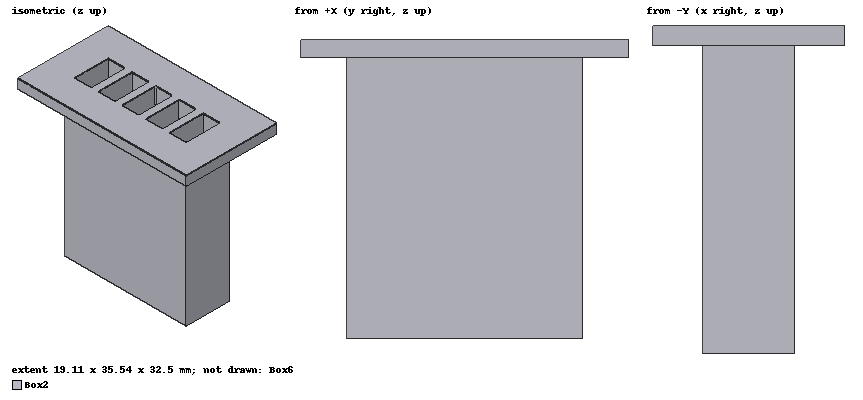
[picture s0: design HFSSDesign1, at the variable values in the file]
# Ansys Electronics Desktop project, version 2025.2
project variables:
  $a = 7.112mm
  $b = 3.556mm
  $l = 31.5mm
  $w = 1mm
  $d = 4.9965mm
  $m = 5mm
  $t = 2mm
  $pad = 5mm
  $f0 = 30GHz
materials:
  vacuum: permittivity=1
  pec: conductivity=1e+30

design HFSSDesign1 (HFSS, HFSS Modal Network, model units mm)
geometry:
  Box1 = box(corner=(-$a/2, -$b/2, 0mm), size=($a, $b, -$l))
  Box2 [pec] = box(corner=(-$a/2-$w, -$b/2-$w, 0mm), size=($a+2*$w, $b+2*$w, -$l))
  Box2.subtract(Box1)
  Rectangle1 = rectangle(corner=(-$a/2, -$b/2, -$l), x_size=$a, y_size=$b)
  Box3 = box(corner=(-$a/2-$w, -$b/2-$w, -$l-$w), size=($a+2*$w, $b+2*$w, $w))
  Box2_1..Box2_4 = Box2.duplicate_along_line(step=(0mm, $d, 0mm), total=5)
  Box3_1..Box3_4 = Box3.duplicate_along_line(step=(0mm, $d, 0mm), total=5)
  Rectangle1_1..Rectangle1_4 = Rectangle1.duplicate_along_line(step=(0mm, $d, 0mm), total=5)
  Box4 = box(corner=(-$a/2-$w-$m, -$b/2-$w-$m, 0mm), size=($a+2*$w+2*$m, 4*$d+$b+2*$w+2*$m, -$t))
  Box5 = box(corner=(-$a/2, -$b/2, 0mm), size=($a, $b, -$t))
  Box5_1..Box5_4 = Box5.duplicate_along_line(step=(0mm, $d, 0mm), total=5)
  Box4.subtract(Box5, Box5_1..Box5_4)
  Box2.unite(Box2_1..Box2_4, Box3, Box3_1..Box3_4, Box4)
  Box6 [vacuum] = box(corner=(-$a/2-$w-$m-$pad, -$b/2-$w-$m-$pad, -$l-$w-$pad), size=($a+2*$w+2*$m+2*$pad, 4*$d+$b+2*$w+2*$m+2*$pad, $l+$w+2*$pad))
  coordinate_system RelativeCS1 = origin=(0mm, 9.993mm, 0mm) x=(1mm, 0mm, 0mm) y=(0mm, 1mm, 0mm)
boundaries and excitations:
  Rad1: Radiation Objects=Box6
  Port1: Wave Port Faces=Rectangle1.face(at (0, 0, -31.5)) WavePortType=Modal NumModes=1 Modes{Mode1{IntLine{(0, -1.778, -31.5) -> (0, 1.778, -31.5)} CharImp=Zpi}}
  Port2: Wave Port Faces=Rectangle1_1.face WavePortType=Modal NumModes=1 Modes{Mode1{IntLine{(0, 3.2185, -31.5) -> (0, 6.7745, -31.5)} CharImp=Zpi}}
  Port3: Wave Port Faces=Rectangle1_2.face WavePortType=Modal NumModes=1 Modes{Mode1{IntLine{(0, 8.215, -31.5) -> (0, 11.771, -31.5)} CharImp=Zpi}}
  Port4: Wave Port Faces=Rectangle1_3.face WavePortType=Modal NumModes=1 Modes{Mode1{IntLine{(0, 13.2115, -31.5) -> (0, 16.7675, -31.5)} CharImp=Zpi}}
  Port5: Wave Port Faces=Rectangle1_4.face WavePortType=Modal NumModes=1 Modes{Mode1{IntLine{(0, 18.208, -31.5) -> (0, 21.764, -31.5)} CharImp=Zpi}}
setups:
  Setup1: HfssDriven Frequency=30GHz MaxDeltaS=0.02 MaximumPasses=10 MinimumPasses=1 MinimumConvergedPasses=1 PercentRefinement=30 BasisOrder=1 PortAccuracy=2 DrivenSolverType="Auto Select Direct/Iterative"
    sweep Sweep: 20GHz to 40GHz, 401 points; Type=Interpolating InterpTolerance=0.5 InterpMaxSolns=250 InterpUsePortImped=false PassivityErrorTolerance=0.0001
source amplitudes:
  Port1:1, Port5:1: 1W -180deg
  Port2:1: 1W 90deg
  Port3:1: 1W 0deg
  Port4:1: 1W -90deg
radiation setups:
  Infinite Sphere1: Infinite Sphere Theta=-180deg..180deg step 2deg Phi=-180deg..180deg step 2deg CoordSystem=RelativeCS1
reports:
  Directivity Plot1: dB(DirTotal) vs Phi, Theta on Setup1 : LastAdaptive, Infinite Sphere1 [Freq=30GHz]
  Directivity Plot2: dB(DirL3X), dB(DirL3Y) vs Theta on Setup1 : LastAdaptive, Infinite Sphere1 [Phi=all Freq=30GHz]; markers m1 at 30deg
  Directivity Plot3: dB(DirTotal) vs Theta on Setup1 : LastAdaptive, Infinite Sphere1 [Phi=all Freq=30GHz]; markers m1 at -38deg, m2 at 0deg
